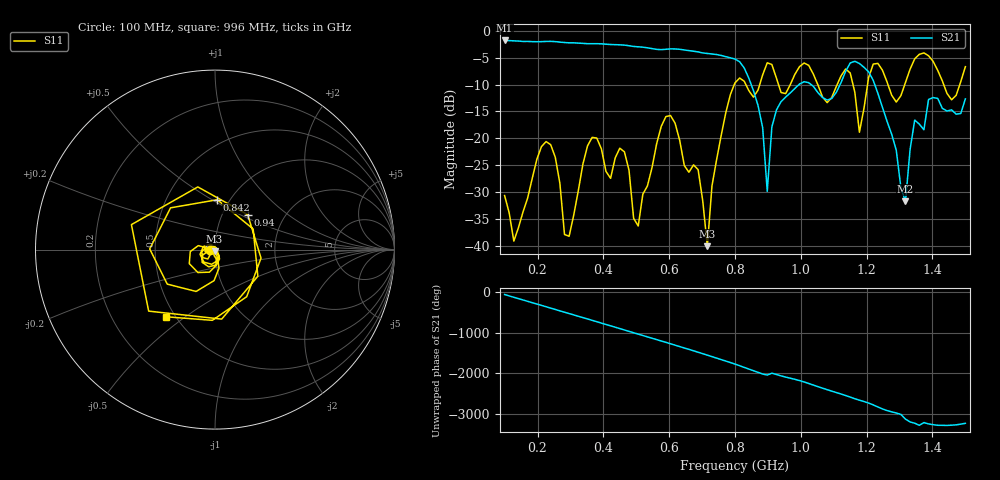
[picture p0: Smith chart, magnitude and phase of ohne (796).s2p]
! NanoVNA-App
! Date: 2025-09-25 14:27:00
! Start: 100MHz Stop: 1,5GHz Points: 101
! S-Parameter data: F S11 S21 S12 S22
# Hz S RI R 50
!  Frequency  S11_Real  S11_Imag  S21_Real  S21_Imag  S12_Real  S12_Imag  S22_Real  S22_Imag
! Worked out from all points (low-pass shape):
!   101 points, 100 MHz to 1.5 GHz, reference 50 ohm
!   highest |S21| = -1.79 dB at 100 MHz (marker M1); lowest = -31.7 dB at 1.318 GHz (marker M2)
!   |S21| within 3 dB of the highest: start of sweep to 771.1 MHz
!   lowest |S11| = -40.0 dB at 716 MHz (marker M3), VSWR 1.02, Z = 49.8 - j0.961 ohm
!   |S11| at or under -10 dB: start of sweep to 797.9 MHz; 833 MHz to 875.1 MHz (42.04 MHz wide, 4.92 % of centre); 1.052 GHz to 1.11 GHz (58.81 MHz wide, 5.44 % of centre) (the widest 3 of 7)
!   S12 and S22 are empty: the file has one direction only
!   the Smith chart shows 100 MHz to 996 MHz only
!   S11 on the Smith chart (normalised r, x): 100 MHz: 0.94, -0.01; 842 MHz: 0.88, +0.53; 940 MHz: 1.31, +0.55; 996 MHz: 0.44, -0.42
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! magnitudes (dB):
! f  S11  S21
! 100 MHz  -30.6  -1.8
! 128 MHz  -39.1  -1.9
! 226 MHz  -20.6  -2.0
! 296 MHz  -38.2  -2.2
! 338 MHz  -24.7  -2.3
! 464 MHz  -22.5  -2.7
! 506 MHz  -36.3  -3.0
! 576 MHz  -17.8  -3.5
! 688 MHz  -25.8  -3.9
! 716 MHz  -40.0  -4.2
! 800 MHz  -9.7  -5.3
! 842 MHz  -11.1  -8.8
! 898 MHz  -6.0  -29.8
! 940 MHz  -11.5  -13.2
! 996 MHz  -6.7  -9.9
! 1.038 GHz  -8.0  -10.3
! 1.178 GHz  -18.9  -6.1
! 1.22 GHz  -6.2  -9.2
! 1.276 GHz  -12.0  -19.2
! 1.318 GHz  -9.6  -31.7
! 1.346 GHz  -5.2  -16.6
! 1.5 GHz  -6.7  -12.7
